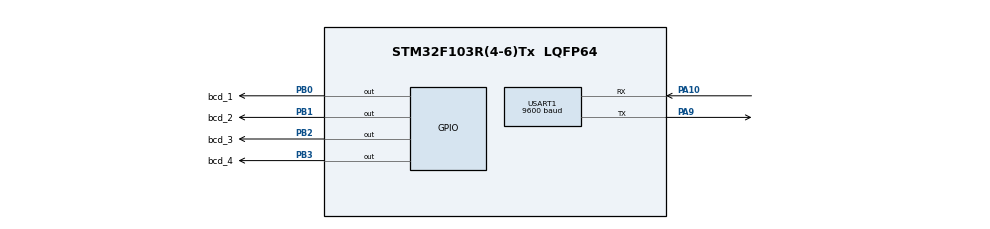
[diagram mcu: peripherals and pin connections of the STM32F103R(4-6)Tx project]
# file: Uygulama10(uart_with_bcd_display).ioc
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Mcu.Family=STM32F1
Mcu.Name=STM32F103R(4-6)Tx
Mcu.Package=LQFP64
NVIC.PriorityGroup=NVIC_PRIORITYGROUP_4
PA10.Mode=Asynchronous
PA10.Signal=USART1_RX
PA9.Mode=Asynchronous
PA9.Signal=USART1_TX
PB0.GPIO_Label=bcd_1
PB0.GPIO_Speed=GPIO_SPEED_FREQ_MEDIUM
PB0.Signal=GPIO_Output
PB1.GPIO_Label=bcd_2
PB1.GPIO_Speed=GPIO_SPEED_FREQ_MEDIUM
PB1.Signal=GPIO_Output
PB2.GPIO_Label=bcd_3
PB2.GPIO_Speed=GPIO_SPEED_FREQ_MEDIUM
PB2.Signal=GPIO_Output
PB3.GPIO_Label=bcd_4
PB3.GPIO_Speed=GPIO_SPEED_FREQ_MEDIUM
PB3.Signal=GPIO_Output
ProjectManager.HeapSize=0x200
ProjectManager.StackSize=0x400
ProjectManager.TargetToolchain=MDK-ARM V5.27
RCC.APB1Freq_Value=8000000
RCC.APB2Freq_Value=8000000
USART1.BaudRate=9600
USART1.VirtualMode=VM_ASYNC
VP_SYS_VS_ND.Mode=No_Debug
board=custom

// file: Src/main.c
/* USER CODE BEGIN Header */
/**
  ******************************************************************************
  * @file           : main.c
  * @brief          : Main program body
  ******************************************************************************
  * @attention
  *
  * <h2><center>&copy; Copyright (c) 2020 STMicroelectronics.
  * All rights reserved.</center></h2>
  *
  * This software component is licensed by ST under BSD 3-Clause license,
  * the "License"; You may not use this file except in compliance with the
  * License. You may obtain a copy of the License at:
  *                        opensource.org/licenses/BSD-3-Clause
  *
  ******************************************************************************
  */
/* USER CODE END Header */

#include "main.h"

/* USER CODE BEGIN Includes */
#include "string.h"

/* USER CODE END Includes */

UART_HandleTypeDef huart1;

/* USER CODE BEGIN PV */
char rxMessage[1];

/* USER CODE END PV */

void SystemClock_Config(void);
static void MX_GPIO_Init(void);
static void MX_USART1_UART_Init(void);

int main(void)
{

  /* MCU Configuration--------------------------------------------------------*/

  /* Reset of all peripherals, Initializes the Flash interface and the Systick. */
  HAL_Init();

  /* Configure the system clock */
  SystemClock_Config();

  /* Initialize all configured peripherals */
  MX_GPIO_Init();
  MX_USART1_UART_Init();
  /* USER CODE BEGIN 2 */
	GPIOB->ODR=0;
	HAL_Delay(300);

  /* USER CODE END 2 */

  /* Infinite loop */
  while (1)
  {

    /* USER CODE BEGIN 3 */

		if(HAL_UART_Receive(&huart1,(uint8_t *)rxMessage,1,10)!=HAL_OK){
			Error_Handler();

		}
		if(strncmp(rxMessage,"0",1)==0){
			GPIOB->ODR=0;
		}else if(strncmp(rxMessage,"1",1)==0){
		  GPIOB->ODR=1;
		}else if(strncmp(rxMessage,"2",1)==0){
		  GPIOB->ODR=2;
		}else if(strncmp(rxMessage,"3",1)==0){
		  GPIOB->ODR=3;
		}else if(strncmp(rxMessage,"4",1)==0){
		  GPIOB->ODR=4;
		}else if(strncmp(rxMessage,"5",1)==0){
		  GPIOB->ODR=5;
		}else if(strncmp(rxMessage,"6",1)==0){
		  GPIOB->ODR=6;
		}else if(strncmp(rxMessage,"7",1)==0){
		  GPIOB->ODR=7;
		}else if(strncmp(rxMessage,"8",1)==0){
		  GPIOB->ODR=8;
		}else if(strncmp(rxMessage,"9",1)==0){
		  GPIOB->ODR=9;
		}else{
		  GPIOB->ODR=10;

		}

		HAL_Delay(500);

  /* USER CODE END 3 */
}
	}

void SystemClock_Config(void)
{
  RCC_OscInitTypeDef RCC_OscInitStruct = {0};
  RCC_ClkInitTypeDef RCC_ClkInitStruct = {0};

  /** Initializes the CPU, AHB and APB busses clocks
  */
  RCC_OscInitStruct.OscillatorType = RCC_OSCILLATORTYPE_HSI;
  RCC_OscInitStruct.HSIState = RCC_HSI_ON;
  RCC_OscInitStruct.HSICalibrationValue = RCC_HSICALIBRATION_DEFAULT;
  RCC_OscInitStruct.PLL.PLLState = RCC_PLL_NONE;
  if (HAL_RCC_OscConfig(&RCC_OscInitStruct) != HAL_OK)
  {
    Error_Handler();
  }
  /** Initializes the CPU, AHB and APB busses clocks
  */
  RCC_ClkInitStruct.ClockType = RCC_CLOCKTYPE_HCLK|RCC_CLOCKTYPE_SYSCLK
                              |RCC_CLOCKTYPE_PCLK1|RCC_CLOCKTYPE_PCLK2;
  RCC_ClkInitStruct.SYSCLKSource = RCC_SYSCLKSOURCE_HSI;
  RCC_ClkInitStruct.AHBCLKDivider = RCC_SYSCLK_DIV1;
  RCC_ClkInitStruct.APB1CLKDivider = RCC_HCLK_DIV1;
  RCC_ClkInitStruct.APB2CLKDivider = RCC_HCLK_DIV1;

  if (HAL_RCC_ClockConfig(&RCC_ClkInitStruct, FLASH_LATENCY_0) != HAL_OK)
  {
    Error_Handler();
  }
}

static void MX_USART1_UART_Init(void)
{

  huart1.Instance = USART1;
  huart1.Init.BaudRate = 9600;
  huart1.Init.WordLength = UART_WORDLENGTH_8B;
  huart1.Init.StopBits = UART_STOPBITS_1;
  huart1.Init.Parity = UART_PARITY_NONE;
  huart1.Init.Mode = UART_MODE_TX_RX;
  huart1.Init.HwFlowCtl = UART_HWCONTROL_NONE;
  huart1.Init.OverSampling = UART_OVERSAMPLING_16;
  if (HAL_UART_Init(&huart1) != HAL_OK)
  {
    Error_Handler();
  }

}

static void MX_GPIO_Init(void)
{
  GPIO_InitTypeDef GPIO_InitStruct = {0};

  /* GPIO Ports Clock Enable */
  __HAL_RCC_GPIOB_CLK_ENABLE();
  __HAL_RCC_GPIOA_CLK_ENABLE();

  /*Configure GPIO pin Output Level */
  HAL_GPIO_WritePin(GPIOB, bcd_1_Pin|bcd_2_Pin|bcd_3_Pin|bcd_4_Pin, GPIO_PIN_RESET);

  /*Configure GPIO pins : bcd_1_Pin bcd_2_Pin bcd_3_Pin bcd_4_Pin */
  GPIO_InitStruct.Pin = bcd_1_Pin|bcd_2_Pin|bcd_3_Pin|bcd_4_Pin;
  GPIO_InitStruct.Mode = GPIO_MODE_OUTPUT_PP;
  GPIO_InitStruct.Pull = GPIO_NOPULL;
  GPIO_InitStruct.Speed = GPIO_SPEED_FREQ_MEDIUM;
  HAL_GPIO_Init(GPIOB, &GPIO_InitStruct);

}

void Error_Handler(void)
{
}

/************************ (C) COPYRIGHT STMicroelectronics *****END OF FILE****/
